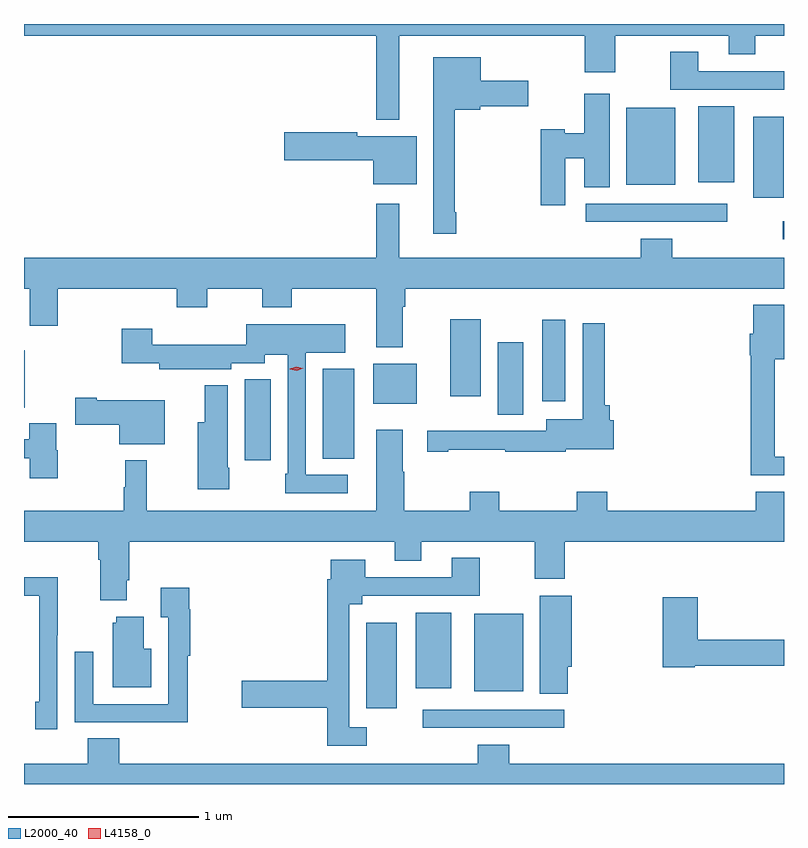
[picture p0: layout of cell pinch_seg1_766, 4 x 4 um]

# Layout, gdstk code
import gdstk
lib = gdstk.Library(unit=1e-6, precision=1e-09)
def R(c, l, rs):  # rectangles x0, y0, x1, y1
    for r in rs: c.add(gdstk.rectangle(r[:2], r[2:], *l))
def P(c, l, *ps):  # polygons
    for p in ps: c.add(gdstk.Polygon(p, *l))
L2000_40 = (2000, 40)
L4158_0 = (4158, 0)

pinch_seg1_766 = lib.new_cell('pinch_seg1_766')
R(pinch_seg1_766, L2000_40, [(545.685,572.064,546.43,572.16), (545.387,572.169,545.548,572.617), (545.957,572.258,546.214,572.665), (545.648,572.273,545.836,572.671), (544.748,573.474,544.885,573.899), (545.159,573.481,545.326,573.955), (546.08,573.712,546.214,574.093), (545.426,573.77,545.653,573.982), (546.314,573.783,546.436,574.213), (545.831,573.81,545.992,574.216), (547.581,574.635,547.587,574.731), (546.543,574.728,547.288,574.824), (547.424,574.854,547.585,575.281), (546.758,574.922,547.015,575.329), (547.136,574.937,547.324,575.335)])
P(pinch_seg1_766, L2000_40, [(545.563,575.708),(546.539,575.708),(546.539,575.514),(546.699,575.514),(546.699,575.708),(547.295,575.708),(547.295,575.609),(547.435,575.609),(547.435,575.708),(547.587,575.708),(547.587,575.769),(543.587,575.769),(543.587,575.708),(545.442,575.708),(545.442,575.264),(545.563,575.264)],
  [(547.587,575.52),(547.135,575.52),(547.135,575.623),(546.988,575.623),(546.988,575.424),(547.587,575.424)],
  [(545.863,574.777),(545.855,574.777),(545.855,575.318),(545.988,575.318),(545.988,575.336),(546.241,575.336),(546.241,575.47),(545.992,575.47),(545.992,575.593),(545.741,575.593),(545.741,574.665),(545.863,574.665)],
  [(546.436,575.063),(546.536,575.063),(546.536,574.909),(546.67,574.909),(546.67,575.401),(546.536,575.401),(546.536,575.193),(546.432,575.193),(546.432,575.216),(546.307,575.216),(546.307,574.815),(546.436,574.815)],
  [(545.653,575.179),(545.34,575.179),(545.34,575.198),(544.956,575.198),(544.956,575.051),(545.426,575.051),(545.426,574.925),(545.653,574.925)],
  [(543.587,574.376),(543.617,574.376),(543.617,574.182),(543.765,574.182),(543.765,574.376),(544.391,574.376),(544.391,574.277),(544.551,574.277),(544.551,574.376),(544.84,574.376),(544.84,574.277),(544.995,574.277),(544.995,574.376),(545.441,574.376),(545.441,574.067),(545.581,574.067),(545.581,574.28),(545.594,574.28),(545.594,574.376),(547.587,574.376),(547.587,574.54),(546.998,574.54),(546.998,574.639),(546.833,574.639),(546.833,574.54),(545.563,574.54),(545.563,574.822),(545.442,574.822),(545.442,574.54),(543.587,574.54)],
  [(547.587,573.492),(547.537,573.492),(547.537,574.004),(547.587,574.004),(547.587,574.291),(547.424,574.291),(547.424,574.14),(547.406,574.14),(547.406,574.026),(547.412,574.026),(547.412,573.395),(547.587,573.395)],
  [(545.821,573.529),(546.121,573.529),(546.121,573.519),(546.439,573.519),(546.439,573.53),(546.692,573.53),(546.692,573.684),(546.671,573.684),(546.671,573.763),(546.644,573.763),(546.644,574.195),(546.528,574.195),(546.528,573.688),(546.335,573.688),(546.335,573.627),(545.984,573.627),(545.984,573.629),(545.709,573.629),(545.709,573.519),(545.821,573.519)],
  [(545.29,573.396),(545.07,573.396),(545.07,574.04),(545.278,574.04),(545.278,574.189),(544.758,574.189),(544.758,574.081),(544.262,574.081),(544.262,574.165),(544.102,574.165),(544.102,573.983),(544.298,573.983),(544.298,573.953),(544.678,573.953),(544.678,573.984),(544.854,573.984),(544.854,574.028),(544.974,574.028),(544.974,573.403),(544.962,573.403),(544.962,573.3),(545.29,573.3)],
  [(543.59,573.897),(543.592,573.897),(543.592,574.051),(543.587,574.051),(543.587,573.749),(543.59,573.749)],
  [(544.668,573.433),(544.66,573.433),(544.66,573.868),(544.538,573.868),(544.538,573.673),(544.502,573.673),(544.502,573.321),(544.668,573.321)],
  [(544.327,573.79),(543.97,573.79),(543.97,573.803),(543.858,573.803),(543.858,573.661),(544.088,573.661),(544.088,573.557),(544.327,573.557)],
  [(543.765,573.525),(543.757,573.525),(543.757,573.667),(543.615,573.667),(543.615,573.583),(543.587,573.583),(543.587,573.483),(543.617,573.483),(543.617,573.378),(543.765,573.378)],
  [(544.129,572.842),(544.142,572.842),(544.142,573.044),(545.537,573.044),(545.537,572.945),(545.677,572.945),(545.677,573.044),(546.274,573.044),(546.274,572.85),(546.434,572.85),(546.434,573.044),(547.587,573.044),(547.587,573.307),(547.439,573.307),(547.439,573.208),(546.656,573.208),(546.656,573.307),(546.496,573.307),(546.496,573.208),(546.087,573.208),(546.087,573.307),(545.932,573.307),(545.932,573.208),(545.589,573.208),(545.589,573.413),(545.581,573.413),(545.581,573.634),(545.441,573.634),(545.441,573.208),(544.232,573.208),(544.232,573.472),(544.119,573.472),(544.119,573.332),(544.111,573.332),(544.111,573.208),(543.587,573.208),(543.587,573.044),(543.977,573.044),(543.977,572.948),(543.989,572.948),(543.989,572.735),(544.129,572.735)],
  [(545.392,572.067),(545.298,572.067),(545.298,572.714),(545.368,572.714),(545.368,572.76),(545.985,572.76),(545.985,572.959),(545.837,572.959),(545.837,572.856),(545.383,572.856),(545.383,572.95),(545.201,572.95),(545.201,572.846),(545.182,572.846),(545.182,572.312),(544.734,572.312),(544.734,572.17),(545.182,572.17),(545.182,571.971),(545.392,571.971)],
  [(543.762,572.551),(543.765,572.551),(543.765,572.858),(543.587,572.858),(543.587,572.76),(543.666,572.76),(543.666,572.202),(543.647,572.202),(543.647,572.058),(543.762,572.058)],
  [(544.448,572.444),(544.463,572.444),(544.463,572.69),(544.456,572.69),(544.456,572.803),(544.307,572.803),(544.307,572.647),(544.347,572.647),(544.347,572.19),(543.951,572.19),(543.951,572.464),(543.855,572.464),(543.855,572.094),(544.171,572.094),(544.171,572.093),(544.448,572.093)],
  [(546.449,572.385),(546.47,572.385),(546.47,572.761),(546.302,572.761),(546.302,572.245),(546.449,572.245)],
  [(547.116,572.392),(547.587,572.392),(547.587,572.528),(547.133,572.528),(547.133,572.752),(546.95,572.752),(546.95,572.384),(547.116,572.384)],
  [(544.258,572.482),(544.216,572.482),(544.216,572.65),(544.073,572.65),(544.073,572.619),(544.055,572.619),(544.055,572.279),(544.258,572.279)],
  [(547.587,571.876),(546.14,571.876),(546.14,571.975),(545.975,571.975),(545.975,571.876),(544.088,571.876),(544.088,572.009),(543.923,572.009),(543.923,571.876),(543.587,571.876),(543.587,571.769),(547.587,571.769)])
P(pinch_seg1_766, L4158_0, [(545.022,573.945),(544.986,573.953),(544.986,573.953),(544.986,573.954),(545.021,573.965),(545.056,573.956),(545.056,573.956),(545.056,573.956)])

lib.write_gds('pinch_seg1_766.gds')
